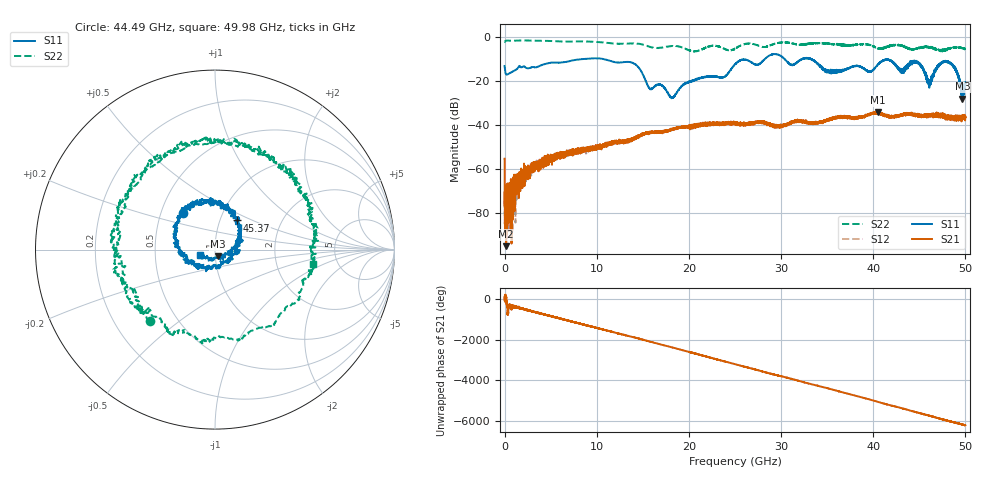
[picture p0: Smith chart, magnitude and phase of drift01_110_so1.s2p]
!Created with skrf (http://scikit-rf.org).
# Hz S RI R 50.0
!freq ReS11 ImS11 ReS21 ImS21 ReS12 ImS12 ReS22 ImS22
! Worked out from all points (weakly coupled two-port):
!   10001 points, 300 kHz to 50 GHz, reference 50 ohm
!   highest |S21| = -34.02 dB at 40.49 GHz (marker M1); lowest = -95.1 dB at 170.3 MHz (marker M2)
!   lowest |S11| = -27.9 dB at 49.67 GHz (marker M3), VSWR 1.08, Z = 51.3 - j3.89 ohm
!   |S11| at or under -10 dB: start of sweep to 8.082 GHz; 10.91 GHz to 26.01 GHz (15.1 GHz wide, 81.8 % of centre); 41.43 GHz to end of sweep (the widest 3 of 12)
!   |S22| runs from -6.4 to -1.4 dB; largest |S21 - S12| = 0.004
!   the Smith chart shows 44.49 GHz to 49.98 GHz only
!   S11 on the Smith chart (normalised r, x): 44.49 GHz: 0.65, +0.28; 45.37 GHz: 1.21, +0.41; 49.98 GHz: 0.84, -0.05
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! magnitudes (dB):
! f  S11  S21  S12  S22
! 300 kHz  -13.0  -55.2  -69.8  -2.1
! 170.3 MHz  -16.9  -95.1  -77.8  -1.4
! 2.59 GHz  -14.0  -60.1  -63.6  -1.4
! 8.335 GHz  -9.9  -51.6  -51.3  -1.8
! 13.8 GHz  -11.4  -46.7  -46.6  -2.7
! 15.75 GHz  -23.3  -43.6  -43.1  -4.2
! 16.67 GHz  -21.4  -42.9  -43.1  -4.8
! 18.22 GHz  -27.4  -41.8  -42.0  -3.9
! 25 GHz  -12.2  -39.2  -39.5  -5.0
! 29.24 GHz  -7.6  -40.5  -40.5  -3.0
! 33.34 GHz  -10.0  -39.2  -38.8  -2.6
! 35.23 GHz  -15.5  -37.2  -37.5  -2.9
! 40.49 GHz  -12.5  -34.0  -34.4  -4.9
! 41.67 GHz  -10.2  -35.8  -36.1  -4.1
! 43.07 GHz  -16.1  -35.3  -35.1  -3.6
! 44.49 GHz  -11.3  -34.9  -35.2  -5.4
! 45.37 GHz  -13.8  -35.4  -35.7  -4.6
! 46.12 GHz  -20.3  -35.9  -35.8  -4.3
! 48.21 GHz  -11.4  -35.6  -36.9  -5.0
! 49.67 GHz  -27.9  -36.3  -36.0  -4.8
! 49.98 GHz  -20.9  -36.0  -36.0  -5.2
! 50 GHz  -21.1  -36.3  -36.0  -5.3
